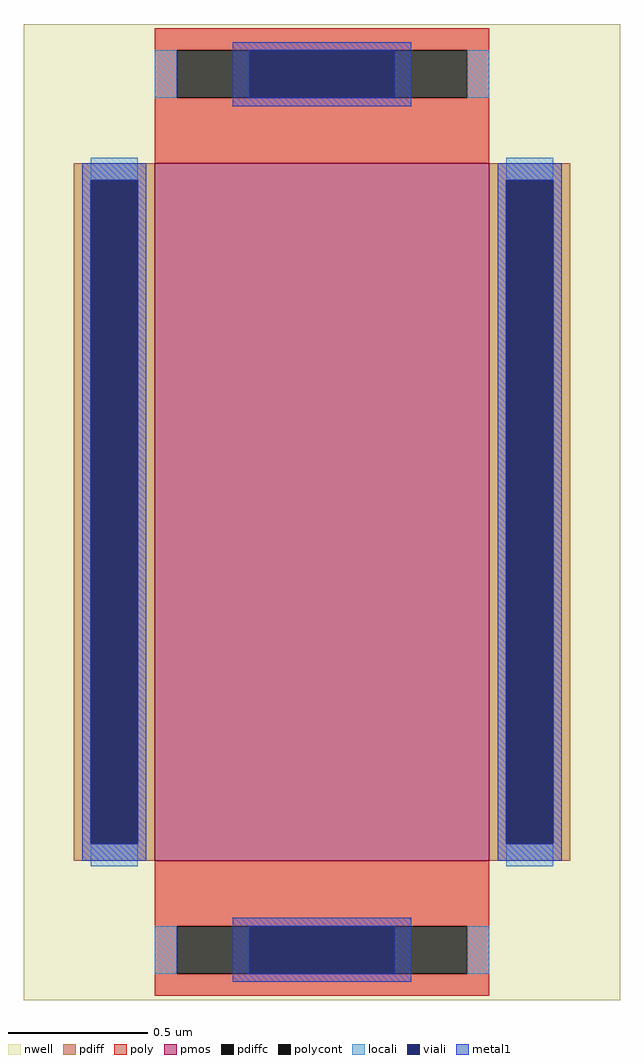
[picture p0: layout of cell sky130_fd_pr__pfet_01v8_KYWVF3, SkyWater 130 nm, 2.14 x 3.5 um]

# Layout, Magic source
magic
tech sky130A
magscale 1 2
<< nwell >>
rect -214 -350 214 350
<< pmos >>
rect -120 -250 120 250
<< pdiff >>
rect -178 238 -120 250
rect -178 -238 -166 238
rect -132 -238 -120 238
rect -178 -250 -120 -238
rect 120 238 178 250
rect 120 -238 132 238
rect 166 -238 178 238
rect 120 -250 178 -238
<< pdiffc >>
rect -166 -238 -132 238
rect 132 -238 166 238
<< poly >>
rect -120 331 120 347
rect -120 297 -104 331
rect 104 297 120 331
rect -120 250 120 297
rect -120 -297 120 -250
rect -120 -331 -104 -297
rect 104 -331 120 -297
rect -120 -347 120 -331
<< polycont >>
rect -104 297 104 331
rect -104 -331 104 -297
<< locali >>
rect -120 297 -104 331
rect 104 297 120 331
rect -166 238 -132 254
rect -166 -254 -132 -238
rect 132 238 166 254
rect 132 -254 166 -238
rect -120 -331 -104 -297
rect 104 -331 120 -297
<< viali >>
rect -52 297 52 331
rect -166 -238 -132 238
rect 132 -238 166 238
rect -52 -331 52 -297
<< metal1 >>
rect -64 331 64 337
rect -64 297 -52 331
rect 52 297 64 331
rect -64 291 64 297
rect -172 238 -126 250
rect -172 -238 -166 238
rect -132 -238 -126 238
rect -172 -250 -126 -238
rect 126 238 172 250
rect 126 -238 132 238
rect 166 -238 172 238
rect 126 -250 172 -238
rect -64 -297 64 -291
rect -64 -331 -52 -297
rect 52 -331 64 -297
rect -64 -337 64 -331
<< properties >>
string gencell sky130_fd_pr__pfet_01v8
string library sky130
string parameters w 2.5 l 1.2 m 1 nf 1 diffcov 100 polycov 100 guard 0 glc 1 grc 1 gtc 1 gbc 1 tbcov 100 rlcov 100 topc 1 botc 1 poverlap 0 doverlap 1 lmin 0.15 wmin 0.42 compatible {sky130_fd_pr__pfet_01v8  sky130_fd_pr__pfet_01v8_lvt sky130_fd_pr__pfet_01v8_hvt  sky130_fd_pr__pfet_g5v0d10v5} full_metal 1 viasrc 100 viadrn 100 viagate 50 viagb 0 viagr 0 viagl 0 viagt 0
<< end >>
